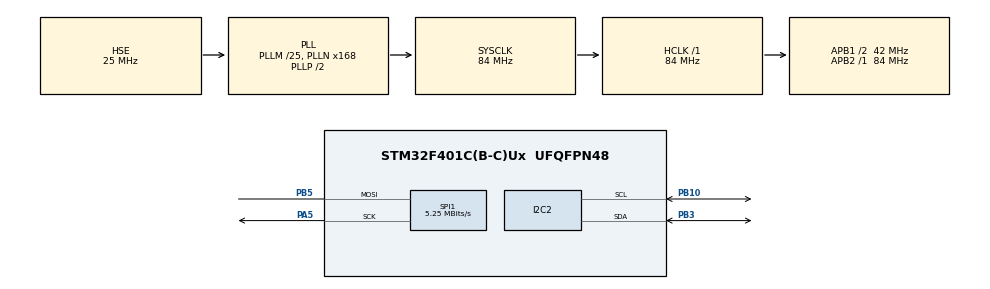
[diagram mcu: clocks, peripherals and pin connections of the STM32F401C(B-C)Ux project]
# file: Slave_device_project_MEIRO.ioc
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Dma.Request0=SPI1_TX
Dma.SPI1_TX.0.Direction=DMA_MEMORY_TO_PERIPH
Dma.SPI1_TX.0.FIFOMode=DMA_FIFOMODE_DISABLE
Dma.SPI1_TX.0.Instance=DMA2_Stream3
Dma.SPI1_TX.0.MemDataAlignment=DMA_MDATAALIGN_BYTE
Dma.SPI1_TX.0.MemInc=DMA_MINC_ENABLE
Dma.SPI1_TX.0.Mode=DMA_CIRCULAR
Dma.SPI1_TX.0.PeriphDataAlignment=DMA_PDATAALIGN_BYTE
Dma.SPI1_TX.0.PeriphInc=DMA_PINC_DISABLE
Dma.SPI1_TX.0.Priority=DMA_PRIORITY_LOW
I2C2.I2C_Mode=I2C_Fast
Mcu.Family=STM32F4
Mcu.Name=STM32F401C(B-C)Ux
Mcu.Package=UFQFPN48
NVIC.DMA2_Stream3_IRQn=true\:0\:0\:false\:false\:true\:false\:true\:true
NVIC.PriorityGroup=NVIC_PRIORITYGROUP_4
NVIC.SPI1_IRQn=true\:0\:0\:false\:false\:true\:true\:true\:true
PA13.Mode=Serial_Wire
PA13.Signal=SYS_JTMS-SWDIO
PA14.Mode=Serial_Wire
PA14.Signal=SYS_JTCK-SWCLK
PA5.Mode=Simplex_Bidirectional_Master
PA5.Signal=SPI1_SCK
PB10.Mode=I2C
PB10.Signal=I2C2_SCL
PB3.Mode=I2C
PB3.Signal=I2C2_SDA
PB5.Mode=Simplex_Bidirectional_Master
PB5.Signal=SPI1_MOSI
PH0\ -\ OSC_IN.Mode=HSE-External-Oscillator
PH0\ -\ OSC_IN.Signal=RCC_OSC_IN
PH1\ -\ OSC_OUT.Mode=HSE-External-Oscillator
PH1\ -\ OSC_OUT.Signal=RCC_OSC_OUT
ProjectManager.HeapSize=0x200
ProjectManager.StackSize=0x400
ProjectManager.TargetToolchain=STM32CubeIDE
RCC.48MHZClocksFreq_Value=42000000
RCC.AHBFreq_Value=84000000
RCC.APB1CLKDivider=RCC_HCLK_DIV2
RCC.APB1Freq_Value=42000000
RCC.APB1TimFreq_Value=84000000
RCC.APB2Freq_Value=84000000
RCC.APB2TimFreq_Value=84000000
RCC.CortexFreq_Value=84000000
RCC.HCLKFreq_Value=84000000
RCC.HSE_VALUE=25000000
RCC.HSI_VALUE=16000000
RCC.LSE_VALUE=32768
RCC.PLLM=25
RCC.PLLN=168
RCC.PLLSourceVirtual=RCC_PLLSOURCE_HSE
RCC.SYSCLKFreq_VALUE=84000000
RCC.SYSCLKSource=RCC_SYSCLKSOURCE_PLLCLK
RCC.VCOOutputFreq_Value=168000000
SPI1.BaudRatePrescaler=SPI_BAUDRATEPRESCALER_16
SPI1.CalculateBaudRate=5.25 MBits/s
SPI1.Direction=SPI_DIRECTION_1LINE
SPI1.Mode=SPI_MODE_MASTER
SPI1.VirtualType=VM_MASTER
board=custom

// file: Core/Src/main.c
/* USER CODE BEGIN Header */
/**
  ******************************************************************************
  * @file           : main.c
  * @brief          : Main program body
  ******************************************************************************
  * @attention
  *
  * Copyright (c) 2024 STMicroelectronics.
  * All rights reserved.
  *
  * This software is licensed under terms that can be found in the LICENSE file
  * in the root directory of this software component.
  * If no LICENSE file comes with this software, it is provided AS-IS.
  *
  ******************************************************************************
  */
/* USER CODE END Header */
#include "main.h"

/* USER CODE BEGIN Includes */
#include "ws2812-spi.h"
#include"QMC5883.h"
#include "stdio.h"
/* USER CODE END Includes */

I2C_HandleTypeDef hi2c2;

SPI_HandleTypeDef hspi1;
DMA_HandleTypeDef hdma_spi1_tx;

/* USER CODE BEGIN PV */
QMC_t pusula_sensor;
int Compas_Value;
/* USER CODE END PV */

void SystemClock_Config(void);
static void MX_GPIO_Init(void);
static void MX_DMA_Init(void);
static void MX_SPI1_Init(void);
static void MX_I2C2_Init(void);

/* USER CODE BEGIN 0 */
//void DMA2_Stream3_IRQHandler(void)
//{
//    HAL_DMA_IRQHandler(&hdma_spi1_tx);
//    /* USER CODE BEGIN DMA1_Channel1_IRQn 1 */
//    HAL_SPI_Transmit_DMA(&WS2812_SPI_HANDLE, ws2812_buffer, WS2812_BUFFER_SIZE);
//    /* USER CODE END DMA1_Channel1_IRQn 1 */
//}

void direction(float degree){

	int _led = (degree/360)*24;
	int _ledl3 = _led - 3;
	int _ledl2 = _led - 2;
	int _ledl1 = _led - 1;

	int _ledr1 = _led + 1;
	int _ledr2 = _led + 2;
	int _ledr3 = _led + 3;

	if(_led == 24){
		_led = 0;
	}

	if(_led == 0){
		_ledl3 = 21;
		_ledl2 = 22;
		_ledl1 = 23;

		_ledr1 = 1;
		_ledr2 = 2;
		_ledr3 = 3;

	}
	if(_led == 1){
		_ledl3 = 22;
		_ledl2 = 23;
		_ledl1 = 0;

		_ledr1 = 2;
		_ledr2 = 3;
		_ledr3 = 4;

	}

	if(_led == 2){
		_ledl3 = 23;
		_ledl2 = 0;
		_ledl1 = 1;

		_ledr1 = 3;
		_ledr2 = 4;
		_ledr3 = 5;

	}
	if(_led == 23){
		_ledl3 = 20;
		_ledl2 = 21;
		_ledl1 = 22;

		_ledr1 = 0;
		_ledr2 = 1;
		_ledr3 = 2;

	}
	if(_led == 22){
		_ledl3 = 19;
		_ledl2 = 20;
		_ledl1 = 21;

		_ledr1 = 23;
		_ledr2 = 0;
		_ledr3 = 1;

	}

	if(_led == 21){
		_ledl3 = 18;
		_ledl2 = 19;
		_ledl1 = 20;

		_ledr1 = 22;
		_ledr2 = 23;
		_ledr3 = 0;

	}

	ws2812_pixel(_ledl3, 0, 0, 20);
	ws2812_pixel(_ledl2, 0, 0, 55);
	ws2812_pixel(_ledl1, 0, 0, 155);
	ws2812_pixel(_led,   255, 0, 0);
	ws2812_pixel(_ledr1, 0, 0, 155);
	ws2812_pixel(_ledr2, 0, 0, 55);
	ws2812_pixel(_ledr3, 0, 0, 20);

	for(int i = 0; i < 24; i++){
		if ((i != _ledl3) &&
			(i != _ledl2) &&
			(i != _ledl1) &&
			(i != _led) &&
			(i != _ledr1) &&
			(i != _ledr2) &&
			(i != _ledr3))
		ws2812_pixel(i, 0, 0, 0);
	}

}

/* USER CODE END 0 */

int main(void)
{

  /* MCU Configuration--------------------------------------------------------*/

  /* Reset of all peripherals, Initializes the Flash interface and the Systick. */
  HAL_Init();

  /* Configure the system clock */
  SystemClock_Config();

  /* Initialize all configured peripherals */
  MX_GPIO_Init();
  MX_DMA_Init();
  MX_SPI1_Init();
  MX_I2C2_Init();
  /* USER CODE BEGIN 2 */
  ws2812_init();
  QMC_init(&pusula_sensor, &hi2c2, 100);
  /* USER CODE END 2 */

  /* Infinite loop */
  /* USER CODE BEGIN WHILE */
  while (1)
  {
	  if(QMC_read(&pusula_sensor)==0)
	  {
		  Compas_Value=pusula_sensor.heading;
	  }
	  direction(Compas_Value);
	  //HAL_Delay(100);

    /* USER CODE END WHILE */

  }
}

void SystemClock_Config(void)
{
  RCC_OscInitTypeDef RCC_OscInitStruct = {0};
  RCC_ClkInitTypeDef RCC_ClkInitStruct = {0};

  /** Configure the main internal regulator output voltage
  */
  __HAL_RCC_PWR_CLK_ENABLE();
  __HAL_PWR_VOLTAGESCALING_CONFIG(PWR_REGULATOR_VOLTAGE_SCALE2);

  /** Initializes the RCC Oscillators according to the specified parameters
  * in the RCC_OscInitTypeDef structure.
  */
  RCC_OscInitStruct.OscillatorType = RCC_OSCILLATORTYPE_HSE;
  RCC_OscInitStruct.HSEState = RCC_HSE_ON;
  RCC_OscInitStruct.PLL.PLLState = RCC_PLL_ON;
  RCC_OscInitStruct.PLL.PLLSource = RCC_PLLSOURCE_HSE;
  RCC_OscInitStruct.PLL.PLLM = 25;
  RCC_OscInitStruct.PLL.PLLN = 168;
  RCC_OscInitStruct.PLL.PLLP = RCC_PLLP_DIV2;
  RCC_OscInitStruct.PLL.PLLQ = 4;
  if (HAL_RCC_OscConfig(&RCC_OscInitStruct) != HAL_OK)
  {
    Error_Handler();
  }

  /** Initializes the CPU, AHB and APB buses clocks
  */
  RCC_ClkInitStruct.ClockType = RCC_CLOCKTYPE_HCLK|RCC_CLOCKTYPE_SYSCLK
                              |RCC_CLOCKTYPE_PCLK1|RCC_CLOCKTYPE_PCLK2;
  RCC_ClkInitStruct.SYSCLKSource = RCC_SYSCLKSOURCE_PLLCLK;
  RCC_ClkInitStruct.AHBCLKDivider = RCC_SYSCLK_DIV1;
  RCC_ClkInitStruct.APB1CLKDivider = RCC_HCLK_DIV2;
  RCC_ClkInitStruct.APB2CLKDivider = RCC_HCLK_DIV1;

  if (HAL_RCC_ClockConfig(&RCC_ClkInitStruct, FLASH_LATENCY_2) != HAL_OK)
  {
    Error_Handler();
  }
}

static void MX_I2C2_Init(void)
{

  hi2c2.Instance = I2C2;
  hi2c2.Init.ClockSpeed = 400000;
  hi2c2.Init.DutyCycle = I2C_DUTYCYCLE_2;
  hi2c2.Init.OwnAddress1 = 0;
  hi2c2.Init.AddressingMode = I2C_ADDRESSINGMODE_7BIT;
  hi2c2.Init.DualAddressMode = I2C_DUALADDRESS_DISABLE;
  hi2c2.Init.OwnAddress2 = 0;
  hi2c2.Init.GeneralCallMode = I2C_GENERALCALL_DISABLE;
  hi2c2.Init.NoStretchMode = I2C_NOSTRETCH_DISABLE;
  if (HAL_I2C_Init(&hi2c2) != HAL_OK)
  {
    Error_Handler();
  }

}

static void MX_SPI1_Init(void)
{

  /* SPI1 parameter configuration*/
  hspi1.Instance = SPI1;
  hspi1.Init.Mode = SPI_MODE_MASTER;
  hspi1.Init.Direction = SPI_DIRECTION_1LINE;
  hspi1.Init.DataSize = SPI_DATASIZE_8BIT;
  hspi1.Init.CLKPolarity = SPI_POLARITY_LOW;
  hspi1.Init.CLKPhase = SPI_PHASE_1EDGE;
  hspi1.Init.NSS = SPI_NSS_SOFT;
  hspi1.Init.BaudRatePrescaler = SPI_BAUDRATEPRESCALER_16;
  hspi1.Init.FirstBit = SPI_FIRSTBIT_MSB;
  hspi1.Init.TIMode = SPI_TIMODE_DISABLE;
  hspi1.Init.CRCCalculation = SPI_CRCCALCULATION_DISABLE;
  hspi1.Init.CRCPolynomial = 10;
  if (HAL_SPI_Init(&hspi1) != HAL_OK)
  {
    Error_Handler();
  }

}

static void MX_DMA_Init(void)
{

  /* DMA controller clock enable */
  __HAL_RCC_DMA2_CLK_ENABLE();

  /* DMA interrupt init */
  /* DMA2_Stream3_IRQn interrupt configuration */
  HAL_NVIC_SetPriority(DMA2_Stream3_IRQn, 0, 0);
  HAL_NVIC_EnableIRQ(DMA2_Stream3_IRQn);

}

static void MX_GPIO_Init(void)
{

  /* GPIO Ports Clock Enable */
  __HAL_RCC_GPIOH_CLK_ENABLE();
  __HAL_RCC_GPIOA_CLK_ENABLE();
  __HAL_RCC_GPIOB_CLK_ENABLE();

}

void Error_Handler(void)
{
  __disable_irq();
  while (1)
  {
  }
}
